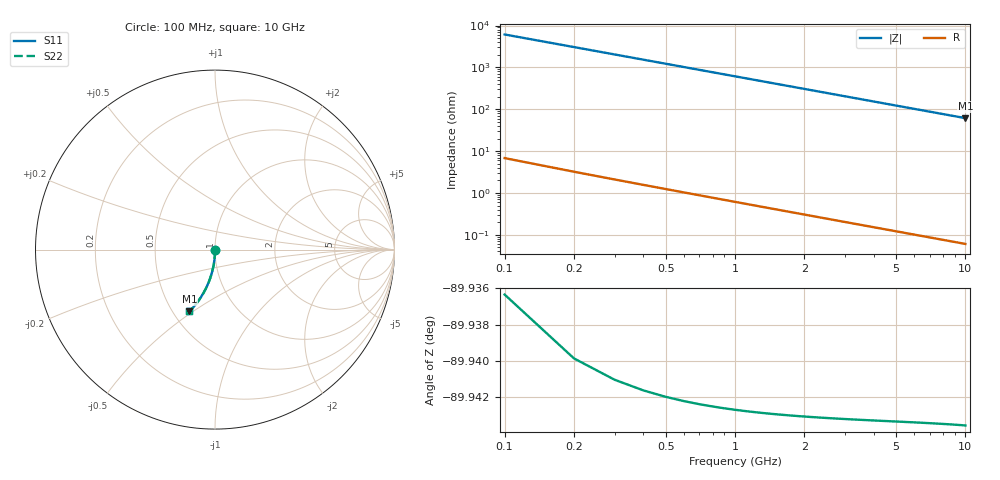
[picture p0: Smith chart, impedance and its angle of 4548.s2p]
# Hz S RI R 50.00
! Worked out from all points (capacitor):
!   100 points, 100 MHz to 10 GHz, reference 50 ohm
!   read as one part in shunt: C = 260 fF near 100 MHz
!   lowest |Z| = 61.4 ohm at 10 GHz (marker M1)
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1e8  -4.37e-06 -0.00403  1 -0.00413  1 -0.00413  -4.37e-06 -0.00403
2e8  -5.82e-05 -0.00806  0.9999 -0.00825  0.9999 -0.00825  -5.82e-05 -0.00806
3e8  -0.000145 -0.0121  0.9998 -0.0124  0.9998 -0.0124  -0.000145 -0.0121
4e8  -0.000266 -0.0161  0.9997 -0.0165  0.9997 -0.0165  -0.000266 -0.0161
5e8  -0.000419 -0.0201  0.9995 -0.0206  0.9995 -0.0206  -0.000419 -0.0201
6e8  -0.000606 -0.0242  0.9994 -0.0247  0.9994 -0.0247  -0.000606 -0.0242
7e8  -0.000826 -0.0282  0.9991 -0.0289  0.9991 -0.0289  -0.000826 -0.0282
8e8  -0.00108 -0.0322  0.9989 -0.033  0.9989 -0.033  -0.00108 -0.0322
9e8  -0.00136 -0.0362  0.9986 -0.0371  0.9986 -0.0371  -0.00136 -0.0362
1.1e9  -0.00204 -0.0442  0.9979 -0.0453  0.9979 -0.0453  -0.00204 -0.0442
1.4e9  -0.00329 -0.0562  0.9967 -0.0576  0.9967 -0.0576  -0.00329 -0.0562
1.8e9  -0.00541 -0.0722  0.9946 -0.0739  0.9946 -0.0739  -0.00541 -0.0722
2.1e9  -0.00735 -0.084  0.9926 -0.086  0.9926 -0.086  -0.00735 -0.084
2.5e9  -0.0104 -0.0997  0.9896 -0.1021  0.9896 -0.1021  -0.0104 -0.0997
2.9e9  -0.0139 -0.1152  0.9861 -0.118  0.9861 -0.118  -0.0139 -0.1152
3.4e9  -0.019 -0.1344  0.981 -0.1376  0.981 -0.1376  -0.019 -0.1344
4.2e9  -0.0286 -0.1643  0.9713 -0.1683  0.9713 -0.1683  -0.0286 -0.1643
5.1e9  -0.0416 -0.1968  0.9583 -0.2017  0.9583 -0.2017  -0.0416 -0.1968
5.9e9  -0.0549 -0.2245  0.9451 -0.2301  0.9451 -0.2301  -0.0549 -0.2245
6.7e9  -0.0696 -0.2509  0.9303 -0.2573  0.9303 -0.2573  -0.0696 -0.2509
8.4e9  -0.1052 -0.3023  0.8948 -0.3103  0.8948 -0.3103  -0.1052 -0.3023
1e10  -0.1427 -0.3445  0.8572 -0.3541  0.8572 -0.3541  -0.1427 -0.3445
